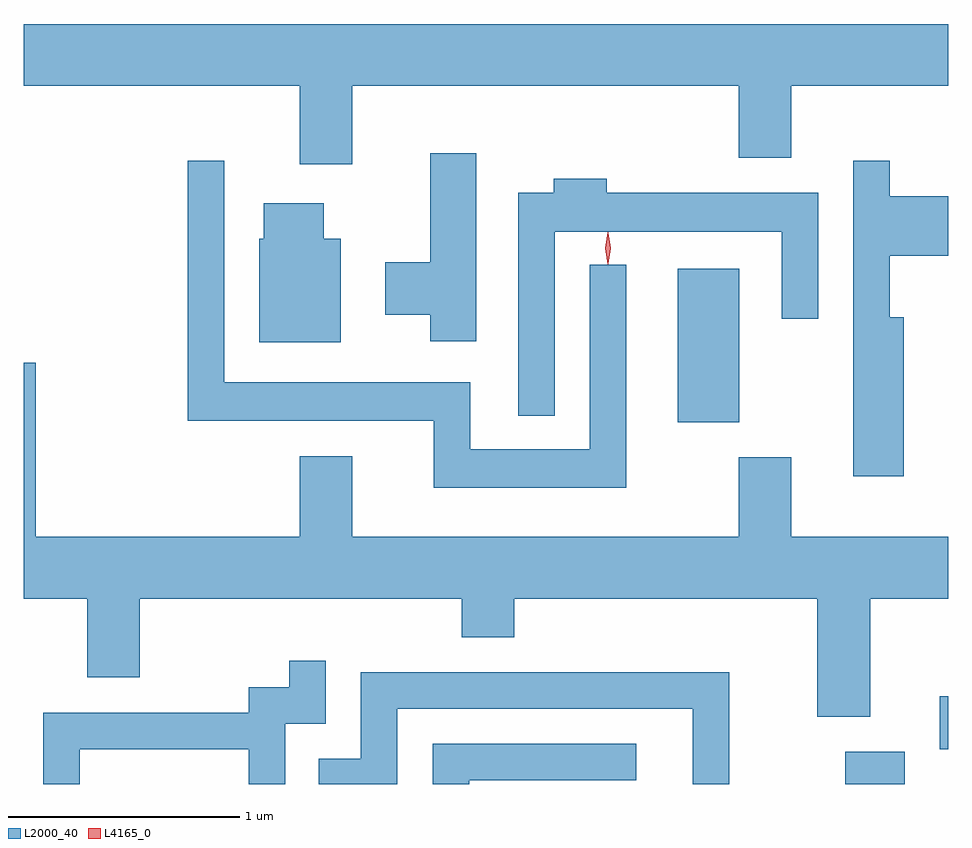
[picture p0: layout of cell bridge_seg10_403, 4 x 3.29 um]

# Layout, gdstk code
import gdstk
lib = gdstk.Library(unit=1e-6, precision=1e-09)
def R(c, l, rs):  # rectangles x0, y0, x1, y1
    for r in rs: c.add(gdstk.rectangle(r[:2], r[2:], *l))
def P(c, l, *ps):  # polygons
    for p in ps: c.add(gdstk.Polygon(p, *l))
L2000_40 = (2000, 40)
L4165_0 = (4165, 0)

bridge_seg10_403 = lib.new_cell('bridge_seg10_403')
R(bridge_seg10_403, L2000_40, [(1372.971,2090.915,1373.229,2091.054), (1373.381,2091.066,1373.417,2091.294), (1372.246,2092.481,1372.514,2093.144)])
P(bridge_seg10_403, L2000_40, [(1370.839,2093.936),(1372.511,2093.936),(1372.511,2093.626),(1372.739,2093.626),(1372.739,2093.936),(1373.417,2093.936),(1373.417,2094.204),(1369.417,2094.204),(1369.417,2093.936),(1370.611,2093.936),(1370.611,2093.596),(1370.839,2093.596)],
  [(1371.374,2093.644),(1371.176,2093.644),(1371.176,2093.174),(1370.981,2093.174),(1370.981,2092.946),(1371.176,2092.946),(1371.176,2092.831),(1371.374,2092.831)],
  [(1372.024,2093.163),(1371.866,2093.163),(1371.866,2092.364),(1371.349,2092.364),(1371.349,2092.654),(1370.284,2092.654),(1370.284,2093.613),(1370.126,2093.613),(1370.126,2092.486),(1371.191,2092.486),(1371.191,2092.196),(1372.024,2092.196)],
  [(1373.224,2092.934),(1373.164,2092.934),(1373.164,2093.201),(1373.417,2093.201),(1373.417,2093.459),(1373.164,2093.459),(1373.164,2093.613),(1373.006,2093.613),(1373.006,2092.246),(1373.224,2092.246)],
  [(1371.714,2093.306),(1372.696,2093.306),(1372.696,2092.928),(1372.854,2092.928),(1372.854,2093.474),(1371.939,2093.474),(1371.939,2093.534),(1371.711,2093.534),(1371.711,2093.474),(1371.556,2093.474),(1371.556,2092.508),(1371.714,2092.508)],
  [(1370.789,2093.274),(1370.714,2093.274),(1370.714,2093.429),(1370.456,2093.429),(1370.456,2093.274),(1370.436,2093.274),(1370.436,2092.826),(1370.789,2092.826)],
  [(1373.079,2091.716),(1373.417,2091.716),(1373.417,2091.984),(1372.739,2091.984),(1372.739,2092.329),(1372.511,2092.329),(1372.511,2091.984),(1370.839,2091.984),(1370.839,2092.334),(1370.611,2092.334),(1370.611,2091.984),(1369.469,2091.984),(1369.469,2092.739),(1369.417,2092.739),(1369.417,2091.716),(1369.691,2091.716),(1369.691,2091.376),(1369.919,2091.376),(1369.919,2091.716),(1371.311,2091.716),(1371.311,2091.551),(1371.539,2091.551),(1371.539,2091.716),(1372.851,2091.716),(1372.851,2091.206),(1373.079,2091.206)],
  [(1369.659,2091.066),(1370.391,2091.066),(1370.391,2090.915),(1370.549,2090.915),(1370.549,2091.176),(1370.724,2091.176),(1370.724,2091.448),(1370.566,2091.448),(1370.566,2091.334),(1370.391,2091.334),(1370.391,2091.224),(1369.501,2091.224),(1369.501,2090.915),(1369.659,2090.915)],
  [(1371.034,2091.241),(1372.311,2091.241),(1372.311,2090.915),(1372.469,2090.915),(1372.469,2091.399),(1370.876,2091.399),(1370.876,2091.024),(1370.693,2091.024),(1370.693,2090.915),(1371.034,2090.915)],
  [(1371.344,2090.931),(1372.068,2090.931),(1372.068,2091.089),(1371.186,2091.089),(1371.186,2090.915),(1371.344,2090.915)])
P(bridge_seg10_403, L4165_0, [(1371.944,2093.164),(1371.944,2093.164),(1371.934,2093.233),(1371.944,2093.303),(1371.944,2093.303),(1371.945,2093.303),(1371.954,2093.233),(1371.945,2093.164)],
  [(1371.945,2093.167),(1371.936,2093.234),(1371.945,2093.3),(1371.945,2093.3),(1371.946,2093.3),(1371.956,2093.234),(1371.946,2093.167),(1371.946,2093.167)])

lib.write_gds('bridge_seg10_403.gds')
